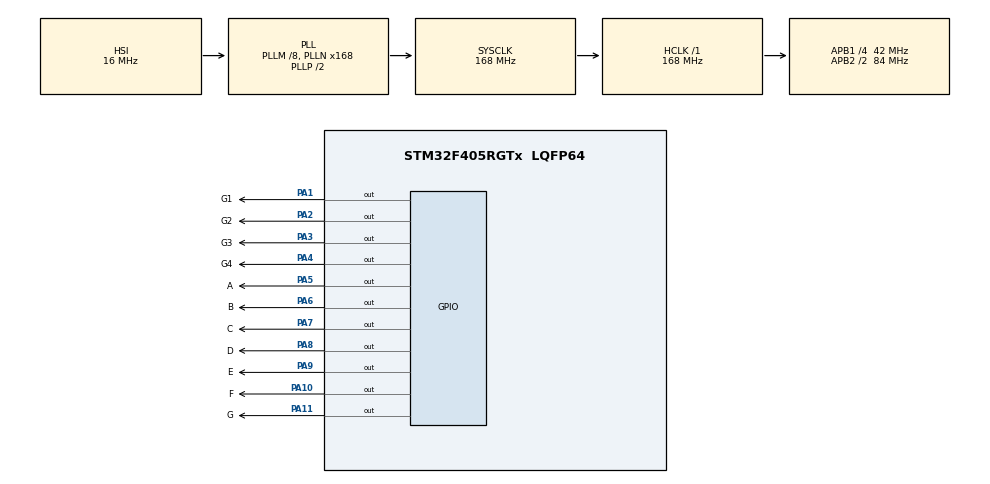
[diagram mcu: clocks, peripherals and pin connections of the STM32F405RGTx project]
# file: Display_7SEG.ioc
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Mcu.Family=STM32F4
Mcu.Name=STM32F405RGTx
Mcu.Package=LQFP64
NVIC.PriorityGroup=NVIC_PRIORITYGROUP_4
PA1.GPIO_Label=G1
PA1.Signal=GPIO_Output
PA10.GPIO_Label=F
PA10.PinState=GPIO_PIN_SET
PA10.Signal=GPIO_Output
PA11.GPIO_Label=G
PA11.PinState=GPIO_PIN_SET
PA11.Signal=GPIO_Output
PA13.Mode=Serial_Wire
PA13.Signal=SYS_JTMS-SWDIO
PA14.Mode=Serial_Wire
PA14.Signal=SYS_JTCK-SWCLK
PA2.GPIO_Label=G2
PA2.Signal=GPIO_Output
PA3.GPIO_Label=G3
PA3.Signal=GPIO_Output
PA4.GPIO_Label=G4
PA4.Signal=GPIO_Output
PA5.GPIO_Label=A
PA5.PinState=GPIO_PIN_SET
PA5.Signal=GPIO_Output
PA6.GPIO_Label=B
PA6.PinState=GPIO_PIN_SET
PA6.Signal=GPIO_Output
PA7.GPIO_Label=C
PA7.PinState=GPIO_PIN_SET
PA7.Signal=GPIO_Output
PA8.GPIO_Label=D
PA8.PinState=GPIO_PIN_SET
PA8.Signal=GPIO_Output
PA9.GPIO_Label=E
PA9.PinState=GPIO_PIN_SET
PA9.Signal=GPIO_Output
PC14-OSC32_IN.Mode=LSE-External-Oscillator
PC14-OSC32_IN.Signal=RCC_OSC32_IN
PC15-OSC32_OUT.Mode=LSE-External-Oscillator
PC15-OSC32_OUT.Signal=RCC_OSC32_OUT
PH0-OSC_IN.Mode=HSE-External-Oscillator
PH0-OSC_IN.Signal=RCC_OSC_IN
PH1-OSC_OUT.Mode=HSE-External-Oscillator
PH1-OSC_OUT.Signal=RCC_OSC_OUT
ProjectManager.HeapSize=0x200
ProjectManager.StackSize=0x400
ProjectManager.TargetToolchain=MDK-ARM V5.32
RCC.48MHZClocksFreq_Value=84000000
RCC.AHBFreq_Value=168000000
RCC.APB1CLKDivider=RCC_HCLK_DIV4
RCC.APB1Freq_Value=42000000
RCC.APB1TimFreq_Value=84000000
RCC.APB2CLKDivider=RCC_HCLK_DIV2
RCC.APB2Freq_Value=84000000
RCC.APB2TimFreq_Value=168000000
RCC.CortexFreq_Value=168000000
RCC.HCLKFreq_Value=168000000
RCC.HSE_VALUE=8000000
RCC.HSI_VALUE=16000000
RCC.PLLM=8
RCC.PLLN=168
RCC.SYSCLKFreq_VALUE=168000000
RCC.SYSCLKSource=RCC_SYSCLKSOURCE_PLLCLK
RCC.VCOOutputFreq_Value=336000000
board=custom

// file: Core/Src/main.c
/* USER CODE BEGIN Header */
/**
  ******************************************************************************
  * @file           : main.c
  * @brief          : Main program body
  ******************************************************************************
  * @attention
  *
  * Copyright (c) 2026 STMicroelectronics.
  * All rights reserved.
  *
  * This software is licensed under terms that can be found in the LICENSE file
  * in the root directory of this software component.
  * If no LICENSE file comes with this software, it is provided AS-IS.
  *
  ******************************************************************************
  */
/* USER CODE END Header */
#include "main.h"

/* USER CODE BEGIN PV */
uint8_t SEG_Digit[]={
						 //0GFEDCBA
	0x40      ,//01000000 //0
	0x79			,//01111001 //1
	0x24      ,//00100100 //2
	0x30			,//00110000 //3
	0x19			,//00011001 //4
	0x12			,//00010010 //5
	0x02			,//00000010 //6
	0x78			,//01111000 //7
	0x00			,//00000000 //8
	0x10			 //00010000 //9
};
/* USER CODE END PV */

void SystemClock_Config(void);
static void MX_GPIO_Init(void);
/* USER CODE BEGIN PFP */
void SEG_Decoder(int number);
void SEG_Display(int num);
/* USER CODE END PFP */

int main(void)
{

  /* USER CODE BEGIN 1 */
	int count=8888;
  /* USER CODE END 1 */

  /* MCU Configuration--------------------------------------------------------*/

  /* Reset of all peripherals, Initializes the Flash interface and the Systick. */
  HAL_Init();

  /* Configure the system clock */
  SystemClock_Config();

  /* Initialize all configured peripherals */
  MX_GPIO_Init();

  /* Infinite loop */
  /* USER CODE BEGIN WHILE */
  while (1)
  {
		if(count <= 9999){
			count = count + 1;
		}
		else{
			count = 0;
		}
		SEG_Display(count);
    /* USER CODE END WHILE */

  }
}

void SystemClock_Config(void)
{
  RCC_OscInitTypeDef RCC_OscInitStruct = {0};
  RCC_ClkInitTypeDef RCC_ClkInitStruct = {0};

  /** Configure the main internal regulator output voltage
  */
  __HAL_RCC_PWR_CLK_ENABLE();
  __HAL_PWR_VOLTAGESCALING_CONFIG(PWR_REGULATOR_VOLTAGE_SCALE1);

  /** Initializes the RCC Oscillators according to the specified parameters
  * in the RCC_OscInitTypeDef structure.
  */
  RCC_OscInitStruct.OscillatorType = RCC_OSCILLATORTYPE_HSI;
  RCC_OscInitStruct.HSIState = RCC_HSI_ON;
  RCC_OscInitStruct.HSICalibrationValue = RCC_HSICALIBRATION_DEFAULT;
  RCC_OscInitStruct.PLL.PLLState = RCC_PLL_ON;
  RCC_OscInitStruct.PLL.PLLSource = RCC_PLLSOURCE_HSI;
  RCC_OscInitStruct.PLL.PLLM = 8;
  RCC_OscInitStruct.PLL.PLLN = 168;
  RCC_OscInitStruct.PLL.PLLP = RCC_PLLP_DIV2;
  RCC_OscInitStruct.PLL.PLLQ = 4;
  if (HAL_RCC_OscConfig(&RCC_OscInitStruct) != HAL_OK)
  {
    Error_Handler();
  }

  /** Initializes the CPU, AHB and APB buses clocks
  */
  RCC_ClkInitStruct.ClockType = RCC_CLOCKTYPE_HCLK|RCC_CLOCKTYPE_SYSCLK
                              |RCC_CLOCKTYPE_PCLK1|RCC_CLOCKTYPE_PCLK2;
  RCC_ClkInitStruct.SYSCLKSource = RCC_SYSCLKSOURCE_PLLCLK;
  RCC_ClkInitStruct.AHBCLKDivider = RCC_SYSCLK_DIV1;
  RCC_ClkInitStruct.APB1CLKDivider = RCC_HCLK_DIV4;
  RCC_ClkInitStruct.APB2CLKDivider = RCC_HCLK_DIV2;

  if (HAL_RCC_ClockConfig(&RCC_ClkInitStruct, FLASH_LATENCY_5) != HAL_OK)
  {
    Error_Handler();
  }
}

static void MX_GPIO_Init(void)
{
  GPIO_InitTypeDef GPIO_InitStruct = {0};

  /* GPIO Ports Clock Enable */
  __HAL_RCC_GPIOC_CLK_ENABLE();
  __HAL_RCC_GPIOH_CLK_ENABLE();
  __HAL_RCC_GPIOA_CLK_ENABLE();

  /*Configure GPIO pin Output Level */
  HAL_GPIO_WritePin(GPIOA, G1_Pin|G2_Pin|G3_Pin|G4_Pin, GPIO_PIN_RESET);

  /*Configure GPIO pin Output Level */
  HAL_GPIO_WritePin(GPIOA, A_Pin|B_Pin|C_Pin|D_Pin
                          |E_Pin|F_Pin|G_Pin, GPIO_PIN_SET);

  /*Configure GPIO pins : G1_Pin G2_Pin G3_Pin G4_Pin
                           A_Pin B_Pin C_Pin D_Pin
                           E_Pin F_Pin G_Pin */
  GPIO_InitStruct.Pin = G1_Pin|G2_Pin|G3_Pin|G4_Pin
                          |A_Pin|B_Pin|C_Pin|D_Pin
                          |E_Pin|F_Pin|G_Pin;
  GPIO_InitStruct.Mode = GPIO_MODE_OUTPUT_PP;
  GPIO_InitStruct.Pull = GPIO_NOPULL;
  GPIO_InitStruct.Speed = GPIO_SPEED_FREQ_LOW;
  HAL_GPIO_Init(GPIOA, &GPIO_InitStruct);

}

/* USER CODE BEGIN 4 */
void SEG_Decoder(int number){
	uint8_t digit = SEG_Digit[number];
	//0GFEDCBA
	//SEG_A
	if((digit & 0x01) == 0x01){
		HAL_GPIO_WritePin(GPIOA, A_Pin, 1);
	}
	else{
		HAL_GPIO_WritePin(GPIOA, A_Pin, 0);
	}
	//SEG_B
	if((digit & 0x02) == 0x02){
		HAL_GPIO_WritePin(GPIOA, B_Pin, 1);
	}
	else{
		HAL_GPIO_WritePin(GPIOA, B_Pin, 0);
	}
	//SEG_C
	if((digit & 0x04) == 0x04){
		HAL_GPIO_WritePin(GPIOA, C_Pin, 1);
	}
	else{
		HAL_GPIO_WritePin(GPIOA, C_Pin, 0);
	}
	//SEG_D
	if((digit & 0x08) == 0x08){
		HAL_GPIO_WritePin(GPIOA, D_Pin, 1);
	}
	else{
		HAL_GPIO_WritePin(GPIOA, D_Pin, 0);
	}
	//SEG_E
	if((digit & 0x10) == 0x10){
		HAL_GPIO_WritePin(GPIOA, E_Pin, 1);
	}
	else{
		HAL_GPIO_WritePin(GPIOA, E_Pin, 0);
	}
	//SEG_F
	if((digit & 0x20) == 0x20){
		HAL_GPIO_WritePin(GPIOA, F_Pin, 1);
	}
	else{
		HAL_GPIO_WritePin(GPIOA, F_Pin, 0);
	}
	//SEG_G
	if((digit & 0x40) == 0x40){
		HAL_GPIO_WritePin(GPIOA, G_Pin, 1);
	}
	else{
		HAL_GPIO_WritePin(GPIOA, G_Pin, 0);
	}
};

void SEG_Display(int num){
	int thousands = num/1000;
	int hundreds  = num%1000/100;
	int tens  		=	num%100/10;
	int ones			= num%10;
	SEG_Decoder(thousands);
	HAL_GPIO_WritePin(GPIOA, G1_Pin, 1);
	HAL_Delay(5);
	HAL_GPIO_WritePin(GPIOA, G1_Pin, 0);

	SEG_Decoder(hundreds);
	HAL_GPIO_WritePin(GPIOA, G2_Pin, 1);
	HAL_Delay(5);
	HAL_GPIO_WritePin(GPIOA, G2_Pin, 0);

	SEG_Decoder(tens);
	HAL_GPIO_WritePin(GPIOA, G3_Pin, 1);
	HAL_Delay(5);
	HAL_GPIO_WritePin(GPIOA, G3_Pin, 0);

	SEG_Decoder(ones);
	HAL_GPIO_WritePin(GPIOA, G4_Pin, 1);
	HAL_Delay(5);
	HAL_GPIO_WritePin(GPIOA, G4_Pin, 0);
};
/* USER CODE END 4 */

void Error_Handler(void)
{
  __disable_irq();
  while (1)
  {
  }
}
